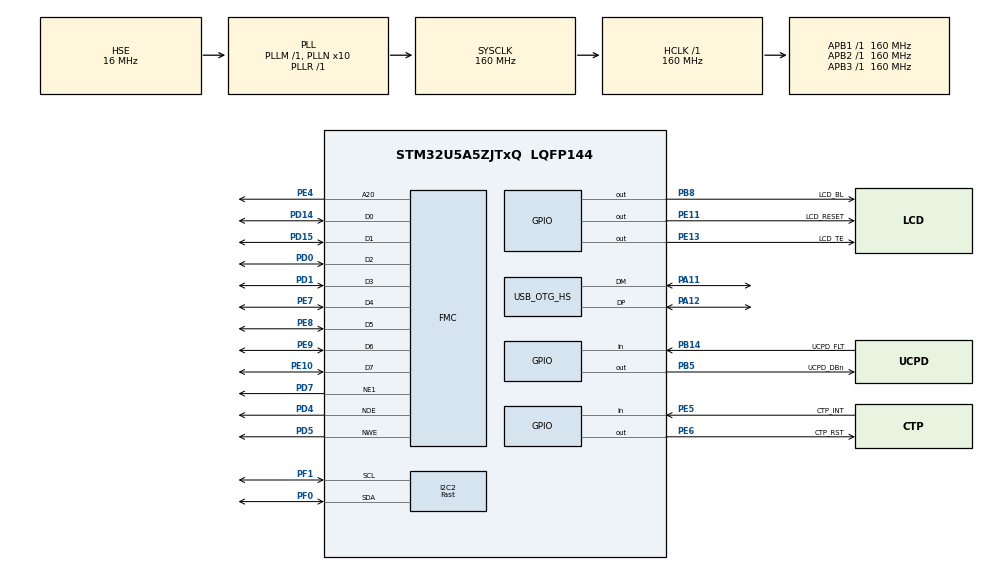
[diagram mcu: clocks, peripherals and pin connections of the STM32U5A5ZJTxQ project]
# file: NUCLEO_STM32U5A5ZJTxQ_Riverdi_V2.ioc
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CORTEX_M33_NS.userName=CORTEX_M33
I2C2.I2C_Speed_Mode=I2C_Fast
I2C2.Timing=0x00F07BFF
Mcu.Family=STM32U5
Mcu.Name=STM32U5A5ZJTxQ
Mcu.Package=LQFP144
NUCLEO-U5A5ZJ-Q.BUTTON=1
NUCLEO-U5A5ZJ-Q.LD1=true
NUCLEO-U5A5ZJ-Q.LD2=true
NUCLEO-U5A5ZJ-Q.LD3=true
NUCLEO-U5A5ZJ-Q.VCP=true
NVIC.EXTI13_IRQn=true\:0\:0\:false\:false\:true\:false\:false\:true\:true
NVIC.PriorityGroup=NVIC_PRIORITYGROUP_4
NVIC.TIM6_IRQn=true\:15\:0\:false\:false\:true\:false\:false\:true\:true
NVIC.TimeBase=TIM6_IRQn
NVIC.TimeBaseIP=TIM6
PA10.Signal=USART1_RX
PA11.Mode=Internal_Phy_Device
PA11.Signal=USB_OTG_HS_DM
PA12.Mode=Internal_Phy_Device
PA12.Signal=USB_OTG_HS_DP
PA13\ (JTMS/SWDIO).Mode=Trace_Asynchronous_SW
PA13\ (JTMS/SWDIO).Signal=DEBUG_JTMS-SWDIO
PA14\ (JTCK/SWCLK).Mode=Trace_Asynchronous_SW
PA14\ (JTCK/SWCLK).Signal=DEBUG_JTCK-SWCLK
PA15\ (JTDI).Signal=UCPD1_CC1
PA9.Signal=USART1_TX
PB14.GPIO_Label=UCPD_FLT
PB14.Signal=GPIO_Input
PB15.Signal=UCPD1_CC2
PB3\ (JTDO/TRACESWO).Mode=Trace_Asynchronous_SW
PB3\ (JTDO/TRACESWO).Signal=DEBUG_JTDO-SWO
PB5.GPIO_Label=UCPD_DBn
PB5.Signal=GPIO_Output
PB8.GPIO_Label=LCD_BL
PB8.Signal=GPIO_Output
PC14-OSC32_IN\ (PC14).Mode=LSE-External-Oscillator
PC14-OSC32_IN\ (PC14).Signal=RCC_OSC32_IN
PC15-OSC32_OUT\ (PC15).Mode=LSE-External-Oscillator
PC15-OSC32_OUT\ (PC15).Signal=RCC_OSC32_OUT
PC2.GPIO_Label=VBUS_SENSE
PC2.Signal=ADC1_IN3
PD0.Signal=FMC_D2_DA2
PD1.Signal=FMC_D3_DA3
PD14.Signal=FMC_D0_DA0
PD15.Signal=FMC_D1_DA1
PD4.Signal=FMC_NOE
PD5.Signal=FMC_NWE
PD7.Mode=NorPsramChipSelect1_1
PD7.Signal=FMC_NE1
PE10.Signal=FMC_D7_DA7
PE11.GPIO_Label=LCD_RESET
PE11.Signal=GPIO_Output
PE13.GPIO_Label=LCD_TE
PE13.Signal=GPIO_Output
PE4.Signal=FMC_A20
PE5.GPIO_Label=CTP_INT
PE5.Signal=GPIO_Input
PE6.GPIO_Label=CTP_RST
PE6.Signal=GPIO_Output
PE7.Signal=FMC_D4_DA4
PE8.Signal=FMC_D5_DA5
PE9.Signal=FMC_D6_DA6
PF0.Mode=I2C
PF0.Signal=I2C2_SDA
PF1.Mode=I2C
PF1.Signal=I2C2_SCL
PH0-OSC_IN\ (PH0).Mode=HSE-External-Oscillator
PH0-OSC_IN\ (PH0).Signal=RCC_OSC_IN
PH1-OSC_OUT\ (PH1).Mode=HSE-External-Oscillator
PH1-OSC_OUT\ (PH1).Signal=RCC_OSC_OUT
PWR.PowerMode=PWR_SMPS_SUPPLY
ProjectManager.HeapSize=0x200
ProjectManager.StackSize=0x400
ProjectManager.TargetToolchain=STM32CubeIDE
RCC.ADCFreq_Value=16000000
RCC.AHBFreq_Value=160000000
RCC.APB1Freq_Value=160000000
RCC.APB1TimFreq_Value=160000000
RCC.APB2Freq_Value=160000000
RCC.APB2TimFreq_Value=160000000
RCC.APB3Freq_Value=160000000
RCC.CortexFreq_Value=160000000
RCC.DACCLockSelectionVirtual=RCC_DAC1CLKSOURCE_LSI
RCC.EPOD_VALUE=16000000
RCC.HCLKFreq_Value=160000000
RCC.HSE_VALUE=16000000
RCC.HSI48_VALUE=48000000
RCC.HSI_VALUE=16000000
RCC.LSIDIV_VALUE=32000
RCC.MSIClockRange=RCC_MSIRANGE_0
RCC.MSI_VALUE=48000000
RCC.PLL1P=8
RCC.PLL1R=1
RCC.PLLFRACN=0
RCC.PLLN=10
RCC.PLLSourceVirtual=RCC_PLLSOURCE_HSE
RCC.SYSCLKFreq_VALUE=160000000
RCC.SYSCLKSource=RCC_SYSCLKSOURCE_PLLCLK
RCC.VCOOutputFreq_Value=160000000
SH.FMC_A20.0=FMC_A20,A20_1
SH.FMC_D0_DA0.0=FMC_D0,8b-d1
SH.FMC_D1_DA1.0=FMC_D1,8b-d1
SH.FMC_D2_DA2.0=FMC_D2,8b-d1
SH.FMC_D3_DA3.0=FMC_D3,8b-d1
SH.FMC_D4_DA4.0=FMC_D4,8b-d1
SH.FMC_D5_DA5.0=FMC_D5,8b-d1
SH.FMC_D6_DA6.0=FMC_D6,8b-d1
SH.FMC_D7_DA7.0=FMC_D7,8b-d1
SH.FMC_NOE.0=FMC_NOE,Lcd1
SH.FMC_NWE.0=FMC_NWE,Lcd1
STMicroelectronics.X-CUBE-TOUCHGFX.4.26.1.ApplicationCcGraphicsJjApplication=TouchGFXOoGenerator
STMicroelectronics.X-CUBE-TOUCHGFX.4.26.1.tgfx_custom_height=480
STMicroelectronics.X-CUBE-TOUCHGFX.4.26.1.tgfx_custom_width=320
STMicroelectronics.X-CUBE-TOUCHGFX.4.26.1.tgfx_hardware_accelerator=dma_2d
STMicroelectronics.X-CUBE-TOUCHGFX.4.26.1_IsPackSelfContextualization=true
THREADX.TX_APP_MEM_POOL_SIZE=8192
THREADX.TX_TIMER_TICKS_PER_SECOND=1000
USB_OTG_HS.VirtualMode=Device_HS
VP_CRC_VS_CRC.Mode=CRC_Activate
VP_DMA2D_VS_DMA2D.Mode=DMA2D_Activate
VP_ICACHE_VS_ICACHE.Mode=DirectMappedCache
VP_LPBAMQUEUE_VS_QUEUE.Mode=QUEUEMODE
VP_MEMORYMAP_VS_MEMORYMAP.Mode=CurAppReg
VP_NUCLEO-U5A5ZJ-Q_VS_BSP_COMMON.Mode=COMMON
VP_PWR_VS_DBSignals.Mode=DisableDeadBatterySignals
VP_PWR_VS_LPOM.Mode=PowerOptimisation
VP_PWR_VS_SECSignals.Mode=Security/Privilege
VP_STMicroelectronics.X-CUBE-TOUCHGFX_VS_GraphicsJjApplication_4.26.1.Mode=GraphicsJjApplication
VP_SYS_VS_tim6.Mode=TIM6
VP_THREADX_VS_RTOSJjThreadXJjCoreJjDefault.Mode=Core_Default
board=NUCLEO-U5A5ZJ-Q

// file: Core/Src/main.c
/* USER CODE BEGIN Header */
/**
  ******************************************************************************
  * @file           : main.c
  * @brief          : Main program body
  ******************************************************************************
  * @attention
  *
  * Copyright (c) 2026 STMicroelectronics.
  * All rights reserved.
  *
  * This software is licensed under terms that can be found in the LICENSE file
  * in the root directory of this software component.
  * If no LICENSE file comes with this software, it is provided AS-IS.
  *
  ******************************************************************************
  */
/* USER CODE END Header */
#include "app_threadx.h"
#include "main.h"
#include "app_touchgfx.h"

/* USER CODE BEGIN Includes */
#include "ili9488.h"
#include "stm32u5xx_nucleo.h"
#include <stdio.h>
#include <string.h>
extern void touchgfx_signal_vsync(void);
extern UART_HandleTypeDef hcom_uart[COMn];
/* USER CODE END Includes */

COM_InitTypeDef BspCOMInit;

CRC_HandleTypeDef hcrc;

DMA2D_HandleTypeDef hdma2d;

I2C_HandleTypeDef hi2c2;

PCD_HandleTypeDef hpcd_USB_OTG_HS;

SRAM_HandleTypeDef hsram1;

/* USER CODE BEGIN PV */
/* S16.5 — three-state display power machine, cycled by B1 presses.
 *   DISP_ACTIVE  : backlight on, DMA2D clock on, panel awake.
 *   DISP_DIMMED  : backlight still on, DMA2D clock gated (rendering frozen).
 *   DISP_OFF     : backlight off, ILI9488 SLPIN, DMA2D clock gated. */
typedef enum {
    DISP_ACTIVE = 0,
    DISP_DIMMED = 1,
    DISP_OFF    = 2,
} disp_state_t;
static volatile disp_state_t s165_state = DISP_ACTIVE;
/* USER CODE END PV */

void SystemClock_Config(void);
static void SystemPower_Config(void);
static void MX_GPIO_Init(void);
static void MX_DMA2D_Init(void);
static void MX_FMC_Init(void);
static void MX_I2C2_Init(void);
static void MX_ICACHE_Init(void);
static void MX_USB_OTG_HS_PCD_Init(void);
static void MX_CRC_Init(void);

/* USER CODE BEGIN 0 */

/* Note: __io_putchar is provided by stm32u5xx_nucleo.c (BSP_COM layer)
 * — printf is already routed to the VCP via that, no override needed. */

/* S16.5 — apply a display power state. Safe to call from B1 ISR context:
 *   - HAL_GPIO_WritePin (backlight) is non-blocking and atomic
 *   - __HAL_RCC_DMA2D_CLK_ENABLE/DISABLE are register writes
 *   - ili9488_sleep() writes one FMC byte; the 5 ms / 120 ms delays it
 *     uses internally are HAL_Delay() which spin on SysTick — acceptable
 *     for a bench-driven state change but would be moved out of the ISR
 *     for a production state machine. */
static void s165_apply_state(disp_state_t target)
{
    switch (target) {
    case DISP_ACTIVE:
        __HAL_RCC_DMA2D_CLK_ENABLE();
        ili9488_sleep(0);          /* SLPOUT */
        ili9488_backlight(1);
        printf("S16.5: -> DISP_ACTIVE\n");
        break;
    case DISP_DIMMED:
        ili9488_backlight(1);      /* leave backlight on */
        __HAL_RCC_DMA2D_CLK_DISABLE();
        printf("S16.5: -> DISP_DIMMED (UI paused)\n");
        break;
    case DISP_OFF:
        ili9488_backlight(0);
        ili9488_sleep(1);          /* SLPIN */
        __HAL_RCC_DMA2D_CLK_DISABLE();
        printf("S16.5: -> DISP_OFF\n");
        break;
    }
    s165_state = target;
}

/* BSP_PB_Callback is __weak in stm32u5xx_nucleo.c; this override cycles
 * the display state on every B1 (USER button) press. */
void BSP_PB_Callback(Button_TypeDef Button)
{
    if (Button != BUTTON_USER) return;
    disp_state_t next = (s165_state == DISP_ACTIVE) ? DISP_DIMMED
                      : (s165_state == DISP_DIMMED) ? DISP_OFF
                      : DISP_ACTIVE;
    s165_apply_state(next);
}

/* DMA2D benchmark scratch buffer (200 x 200 pixels x RGB565 = 80 KB). */
#define BENCH_W   200
#define BENCH_H   200
#define BENCH_STRIDE 200
static uint16_t bench_fb[BENCH_W * BENCH_H];

extern DMA2D_HandleTypeDef hdma2d;

static void bench_fill_dma2d(uint32_t color_argb)
{
    hdma2d.Init.Mode         = DMA2D_R2M;
    hdma2d.Init.ColorMode    = DMA2D_OUTPUT_RGB565;
    hdma2d.Init.OutputOffset = 0;   /* whole-buffer fill */
    HAL_DMA2D_Init(&hdma2d);
    HAL_DMA2D_Start(&hdma2d, color_argb,
                    (uint32_t)bench_fb, BENCH_W, BENCH_H);
    HAL_DMA2D_PollForTransfer(&hdma2d, HAL_MAX_DELAY);
}

static void bench_fill_cpu(uint16_t color_565)
{
    uint16_t *p = bench_fb;
    for (uint32_t i = 0; i < (uint32_t)BENCH_W * BENCH_H; ++i) {
        *p++ = color_565;
    }
}

static void run_dma2d_benchmark(void)
{
    /* Enable DWT cycle counter for fine-grained timing. */
    CoreDebug->DEMCR |= CoreDebug_DEMCR_TRCENA_Msk;
    DWT->CYCCNT       = 0;
    DWT->CTRL        |= DWT_CTRL_CYCCNTENA_Msk;

    const int ITERATIONS = 60;
    uint32_t t0, cyc_dma2d, cyc_cpu;

    /* Warm-up so first DMA2D call's HAL_DMA2D_Init overhead doesn't
     * skew the measurement. */
    bench_fill_dma2d(0xFFFF0000u);

    t0 = DWT->CYCCNT;
    for (int i = 0; i < ITERATIONS; ++i) {
        bench_fill_dma2d(0xFFFF0000u);
    }
    cyc_dma2d = DWT->CYCCNT - t0;

    t0 = DWT->CYCCNT;
    for (int i = 0; i < ITERATIONS; ++i) {
        bench_fill_cpu(0xF800);
    }
    cyc_cpu = DWT->CYCCNT - t0;

    const uint32_t per_dma2d = cyc_dma2d / ITERATIONS;
    const uint32_t per_cpu   = cyc_cpu   / ITERATIONS;
    const uint32_t ratio_x10 = (cyc_cpu * 10u) / cyc_dma2d;

    printf("\r\n---- S16.4 DMA2D vs CPU benchmark ----\r\n");
    printf("Fill %dx%d RGB565, x%d iterations\r\n",
           BENCH_W, BENCH_H, ITERATIONS);
    printf("DMA2D: %lu cyc total, %lu cyc/fill\r\n",
           (unsigned long)cyc_dma2d, (unsigned long)per_dma2d);
    printf("CPU  : %lu cyc total, %lu cyc/fill\r\n",
           (unsigned long)cyc_cpu, (unsigned long)per_cpu);
    printf("Speedup: %lu.%lux\r\n",
           (unsigned long)(ratio_x10 / 10u),
           (unsigned long)(ratio_x10 % 10u));
    printf("--------------------------------------\r\n\r\n");
}
/* USER CODE END 0 */

int main(void)
{

  /* MCU Configuration--------------------------------------------------------*/

  /* Reset of all peripherals, Initializes the Flash interface and the Systick. */
  HAL_Init();

  /* Configure the System Power */
  SystemPower_Config();

  /* Configure the system clock */
  SystemClock_Config();

  /* Initialize all configured peripherals */
  MX_GPIO_Init();
  MX_DMA2D_Init();
  MX_FMC_Init();
  MX_I2C2_Init();
  MX_ICACHE_Init();
  /* USB OTG-HS init can hang in USB_CoreReset without the right USB clock;
   * skip until that's set up properly. */
  /* MX_USB_OTG_HS_PCD_Init(); */
  MX_CRC_Init();
  /* Call PreOsInit function -- triggers TouchGFXHAL::initialize() which
   * turns on the backlight and runs ili9488_init() before the scheduler
   * starts, so the first rendered frame lands on a configured panel. */
  MX_TouchGFX_PreOSInit();

  /* Initialize leds */
  BSP_LED_Init(LED_GREEN);
  BSP_LED_Init(LED_BLUE);
  BSP_LED_Init(LED_RED);

  /* Initialize USER push-button, will be used to trigger an interrupt each time it's pressed.*/
  BSP_PB_Init(BUTTON_USER, BUTTON_MODE_EXTI);

  /* Initialize COM1 port (115200, 8 bits (7-bit data + 1 stop bit), no parity */
  BspCOMInit.BaudRate   = 115200;
  BspCOMInit.WordLength = COM_WORDLENGTH_8B;
  BspCOMInit.StopBits   = COM_STOPBITS_1;
  BspCOMInit.Parity     = COM_PARITY_NONE;
  BspCOMInit.HwFlowCtl  = COM_HWCONTROL_NONE;
  if (BSP_COM_Init(COM1, &BspCOMInit) != BSP_ERROR_NONE)
  {
    Error_Handler();
  }

  /* S16.4: run DMA2D vs CPU fill-rate benchmark once before the
   * scheduler takes over.  Doing it here (rather than from a thread)
   * means hdma2d is owned exclusively by this code -- no contention
   * with TouchGFX's rendering. */
  run_dma2d_benchmark();

  /* Hand control to the ThreadX scheduler.  tx_kernel_enter() never
   * returns; threads (including the TouchGFX render task and a VSYNC
   * tick thread) are created in App_ThreadX_Init in app_threadx.c. */
  MX_ThreadX_Init();

  while (1) { }
}

void SystemClock_Config(void)
{
  RCC_OscInitTypeDef RCC_OscInitStruct = {0};
  RCC_ClkInitTypeDef RCC_ClkInitStruct = {0};

  /** Configure the main internal regulator output voltage
  */
  if (HAL_PWREx_ControlVoltageScaling(PWR_REGULATOR_VOLTAGE_SCALE1) != HAL_OK)
  {
    Error_Handler();
  }

  /** Initializes the CPU, AHB and APB buses clocks
  */
  RCC_OscInitStruct.OscillatorType = RCC_OSCILLATORTYPE_HSE;
  RCC_OscInitStruct.HSEState = RCC_HSE_ON;
  RCC_OscInitStruct.PLL.PLLState = RCC_PLL_ON;
  RCC_OscInitStruct.PLL.PLLSource = RCC_PLLSOURCE_HSE;
  RCC_OscInitStruct.PLL.PLLMBOOST = RCC_PLLMBOOST_DIV1;
  RCC_OscInitStruct.PLL.PLLM = 1;
  RCC_OscInitStruct.PLL.PLLN = 10;
  RCC_OscInitStruct.PLL.PLLP = 8;
  RCC_OscInitStruct.PLL.PLLQ = 2;
  RCC_OscInitStruct.PLL.PLLR = 1;
  RCC_OscInitStruct.PLL.PLLRGE = RCC_PLLVCIRANGE_1;
  RCC_OscInitStruct.PLL.PLLFRACN = 0;
  if (HAL_RCC_OscConfig(&RCC_OscInitStruct) != HAL_OK)
  {
    Error_Handler();
  }

  /** Initializes the CPU, AHB and APB buses clocks
  */
  RCC_ClkInitStruct.ClockType = RCC_CLOCKTYPE_HCLK|RCC_CLOCKTYPE_SYSCLK
                              |RCC_CLOCKTYPE_PCLK1|RCC_CLOCKTYPE_PCLK2
                              |RCC_CLOCKTYPE_PCLK3;
  RCC_ClkInitStruct.SYSCLKSource = RCC_SYSCLKSOURCE_PLLCLK;
  RCC_ClkInitStruct.AHBCLKDivider = RCC_SYSCLK_DIV1;
  RCC_ClkInitStruct.APB1CLKDivider = RCC_HCLK_DIV1;
  RCC_ClkInitStruct.APB2CLKDivider = RCC_HCLK_DIV1;
  RCC_ClkInitStruct.APB3CLKDivider = RCC_HCLK_DIV1;

  if (HAL_RCC_ClockConfig(&RCC_ClkInitStruct, FLASH_LATENCY_4) != HAL_OK)
  {
    Error_Handler();
  }
}

/**
  * @brief Power Configuration
  * @retval None
  */
static void SystemPower_Config(void)
{

  /*
   * Disable the internal Pull-Up in Dead Battery pins of UCPD peripheral
   */
  HAL_PWREx_DisableUCPDDeadBattery();

  /*
   * Switch to SMPS regulator instead of LDO
   */
  if (HAL_PWREx_ConfigSupply(PWR_SMPS_SUPPLY) != HAL_OK)
  {
    Error_Handler();
  }
}

static void MX_CRC_Init(void)
{

  hcrc.Instance = CRC;
  hcrc.Init.DefaultPolynomialUse = DEFAULT_POLYNOMIAL_ENABLE;
  hcrc.Init.DefaultInitValueUse = DEFAULT_INIT_VALUE_ENABLE;
  hcrc.Init.InputDataInversionMode = CRC_INPUTDATA_INVERSION_NONE;
  hcrc.Init.OutputDataInversionMode = CRC_OUTPUTDATA_INVERSION_DISABLE;
  hcrc.InputDataFormat = CRC_INPUTDATA_FORMAT_BYTES;
  if (HAL_CRC_Init(&hcrc) != HAL_OK)
  {
    Error_Handler();
  }

}

static void MX_DMA2D_Init(void)
{

  hdma2d.Instance = DMA2D;
  hdma2d.Init.Mode = DMA2D_M2M;
  hdma2d.Init.ColorMode = DMA2D_OUTPUT_ARGB8888;
  hdma2d.Init.OutputOffset = 0;
  hdma2d.Init.BytesSwap = DMA2D_BYTES_REGULAR;
  hdma2d.Init.LineOffsetMode = DMA2D_LOM_PIXELS;
  hdma2d.LayerCfg[1].InputOffset = 0;
  hdma2d.LayerCfg[1].InputColorMode = DMA2D_INPUT_ARGB8888;
  hdma2d.LayerCfg[1].AlphaMode = DMA2D_NO_MODIF_ALPHA;
  hdma2d.LayerCfg[1].InputAlpha = 0;
  hdma2d.LayerCfg[1].AlphaInverted = DMA2D_REGULAR_ALPHA;
  hdma2d.LayerCfg[1].RedBlueSwap = DMA2D_RB_REGULAR;
  if (HAL_DMA2D_Init(&hdma2d) != HAL_OK)
  {
    Error_Handler();
  }
  if (HAL_DMA2D_ConfigLayer(&hdma2d, 1) != HAL_OK)
  {
    Error_Handler();
  }

}

static void MX_I2C2_Init(void)
{

  hi2c2.Instance = I2C2;
  hi2c2.Init.Timing = 0x00F07BFF;
  hi2c2.Init.OwnAddress1 = 0;
  hi2c2.Init.AddressingMode = I2C_ADDRESSINGMODE_7BIT;
  hi2c2.Init.DualAddressMode = I2C_DUALADDRESS_DISABLE;
  hi2c2.Init.OwnAddress2 = 0;
  hi2c2.Init.OwnAddress2Masks = I2C_OA2_NOMASK;
  hi2c2.Init.GeneralCallMode = I2C_GENERALCALL_DISABLE;
  hi2c2.Init.NoStretchMode = I2C_NOSTRETCH_DISABLE;
  if (HAL_I2C_Init(&hi2c2) != HAL_OK)
  {
    Error_Handler();
  }

  /** Configure Analogue filter
  */
  if (HAL_I2CEx_ConfigAnalogFilter(&hi2c2, I2C_ANALOGFILTER_ENABLE) != HAL_OK)
  {
    Error_Handler();
  }

  /** Configure Digital filter
  */
  if (HAL_I2CEx_ConfigDigitalFilter(&hi2c2, 0) != HAL_OK)
  {
    Error_Handler();
  }

}

static void MX_ICACHE_Init(void)
{

  /** Enable instruction cache in 1-way (direct mapped cache)
  */
  if (HAL_ICACHE_ConfigAssociativityMode(ICACHE_1WAY) != HAL_OK)
  {
    Error_Handler();
  }
  if (HAL_ICACHE_Enable() != HAL_OK)
  {
    Error_Handler();
  }

}

static void MX_USB_OTG_HS_PCD_Init(void)
{

  hpcd_USB_OTG_HS.Instance = USB_OTG_HS;
  hpcd_USB_OTG_HS.Init.dev_endpoints = 9;
  hpcd_USB_OTG_HS.Init.speed = PCD_SPEED_HIGH;
  hpcd_USB_OTG_HS.Init.phy_itface = USB_OTG_HS_EMBEDDED_PHY;
  hpcd_USB_OTG_HS.Init.Sof_enable = DISABLE;
  hpcd_USB_OTG_HS.Init.low_power_enable = DISABLE;
  hpcd_USB_OTG_HS.Init.lpm_enable = DISABLE;
  hpcd_USB_OTG_HS.Init.use_dedicated_ep1 = DISABLE;
  hpcd_USB_OTG_HS.Init.vbus_sensing_enable = DISABLE;
  hpcd_USB_OTG_HS.Init.dma_enable = DISABLE;
  if (HAL_PCD_Init(&hpcd_USB_OTG_HS) != HAL_OK)
  {
    Error_Handler();
  }

}

/* FMC initialization function */
static void MX_FMC_Init(void)
{

  FMC_NORSRAM_TimingTypeDef Timing = {0};

  /** Perform the SRAM1 memory initialization sequence
  */
  hsram1.Instance = FMC_NORSRAM_DEVICE;
  hsram1.Extended = FMC_NORSRAM_EXTENDED_DEVICE;
  /* hsram1.Init */
  hsram1.Init.NSBank = FMC_NORSRAM_BANK1;
  hsram1.Init.DataAddressMux = FMC_DATA_ADDRESS_MUX_DISABLE;
  hsram1.Init.MemoryType = FMC_MEMORY_TYPE_SRAM;
  hsram1.Init.MemoryDataWidth = FMC_NORSRAM_MEM_BUS_WIDTH_8;
  hsram1.Init.BurstAccessMode = FMC_BURST_ACCESS_MODE_DISABLE;
  hsram1.Init.WaitSignalPolarity = FMC_WAIT_SIGNAL_POLARITY_LOW;
  hsram1.Init.WaitSignalActive = FMC_WAIT_TIMING_BEFORE_WS;
  hsram1.Init.WriteOperation = FMC_WRITE_OPERATION_ENABLE;
  hsram1.Init.WaitSignal = FMC_WAIT_SIGNAL_DISABLE;
  hsram1.Init.ExtendedMode = FMC_EXTENDED_MODE_DISABLE;
  hsram1.Init.AsynchronousWait = FMC_ASYNCHRONOUS_WAIT_DISABLE;
  hsram1.Init.WriteBurst = FMC_WRITE_BURST_DISABLE;
  hsram1.Init.ContinuousClock = FMC_CONTINUOUS_CLOCK_SYNC_ONLY;
  hsram1.Init.WriteFifo = FMC_WRITE_FIFO_ENABLE;
  hsram1.Init.NBLSetupTime = 0;
  hsram1.Init.PageSize = FMC_PAGE_SIZE_NONE;
  hsram1.Init.MaxChipSelectPulse = DISABLE;
  /* Timing */
  /* Tightened FMC timing for the ILI9488 (datasheet min write cycle ~50 ns,
   * ~8 cycles at 160 MHz HCLK).  Default 255 cycles = visibly slow refresh. */
  Timing.AddressSetupTime = 4;
  Timing.AddressHoldTime = 1;
  Timing.DataSetupTime = 8;
  Timing.DataHoldTime = 1;
  Timing.BusTurnAroundDuration = 4;
  Timing.CLKDivision = 16;
  Timing.DataLatency = 17;
  Timing.AccessMode = FMC_ACCESS_MODE_A;
  /* ExtTiming */

  if (HAL_SRAM_Init(&hsram1, &Timing, NULL) != HAL_OK)
  {
    Error_Handler( );
  }

}

static void MX_GPIO_Init(void)
{
  GPIO_InitTypeDef GPIO_InitStruct = {0};

  /* GPIO Ports Clock Enable */
  __HAL_RCC_GPIOE_CLK_ENABLE();
  __HAL_RCC_GPIOC_CLK_ENABLE();
  __HAL_RCC_GPIOF_CLK_ENABLE();
  __HAL_RCC_GPIOH_CLK_ENABLE();
  __HAL_RCC_GPIOB_CLK_ENABLE();
  __HAL_RCC_GPIOD_CLK_ENABLE();
  __HAL_RCC_GPIOA_CLK_ENABLE();

  /*Configure GPIO pin Output Level */
  HAL_GPIO_WritePin(GPIOE, CTP_RST_Pin|LCD_RESET_Pin|LCD_TE_Pin, GPIO_PIN_RESET);

  /*Configure GPIO pin Output Level */
  HAL_GPIO_WritePin(GPIOB, UCPD_DBn_Pin|LCD_BL_Pin, GPIO_PIN_RESET);

  /*Configure GPIO pin : CTP_INT_Pin */
  GPIO_InitStruct.Pin = CTP_INT_Pin;
  GPIO_InitStruct.Mode = GPIO_MODE_INPUT;
  GPIO_InitStruct.Pull = GPIO_NOPULL;
  HAL_GPIO_Init(CTP_INT_GPIO_Port, &GPIO_InitStruct);

  /*Configure GPIO pins : CTP_RST_Pin LCD_RESET_Pin LCD_TE_Pin */
  GPIO_InitStruct.Pin = CTP_RST_Pin|LCD_RESET_Pin|LCD_TE_Pin;
  GPIO_InitStruct.Mode = GPIO_MODE_OUTPUT_PP;
  GPIO_InitStruct.Pull = GPIO_NOPULL;
  GPIO_InitStruct.Speed = GPIO_SPEED_FREQ_LOW;
  HAL_GPIO_Init(GPIOE, &GPIO_InitStruct);

  /*Configure GPIO pin : VBUS_SENSE_Pin */
  GPIO_InitStruct.Pin = VBUS_SENSE_Pin;
  GPIO_InitStruct.Mode = GPIO_MODE_ANALOG;
  GPIO_InitStruct.Pull = GPIO_NOPULL;
  HAL_GPIO_Init(VBUS_SENSE_GPIO_Port, &GPIO_InitStruct);

  /*Configure GPIO pin : UCPD_FLT_Pin */
  GPIO_InitStruct.Pin = UCPD_FLT_Pin;
  GPIO_InitStruct.Mode = GPIO_MODE_INPUT;
  GPIO_InitStruct.Pull = GPIO_NOPULL;
  HAL_GPIO_Init(UCPD_FLT_GPIO_Port, &GPIO_InitStruct);

  /*Configure GPIO pin : PB15 */
  GPIO_InitStruct.Pin = GPIO_PIN_15;
  GPIO_InitStruct.Mode = GPIO_MODE_ANALOG;
  GPIO_InitStruct.Pull = GPIO_NOPULL;
  HAL_GPIO_Init(GPIOB, &GPIO_InitStruct);

  /*Configure GPIO pin : PA15 */
  GPIO_InitStruct.Pin = GPIO_PIN_15;
  GPIO_InitStruct.Mode = GPIO_MODE_ANALOG;
  GPIO_InitStruct.Pull = GPIO_NOPULL;
  HAL_GPIO_Init(GPIOA, &GPIO_InitStruct);

  /*Configure GPIO pins : UCPD_DBn_Pin LCD_BL_Pin */
  GPIO_InitStruct.Pin = UCPD_DBn_Pin|LCD_BL_Pin;
  GPIO_InitStruct.Mode = GPIO_MODE_OUTPUT_PP;
  GPIO_InitStruct.Pull = GPIO_NOPULL;
  GPIO_InitStruct.Speed = GPIO_SPEED_FREQ_LOW;
  HAL_GPIO_Init(GPIOB, &GPIO_InitStruct);

}

void HAL_TIM_PeriodElapsedCallback(TIM_HandleTypeDef *htim)
{
  if (htim->Instance == TIM6)
  {
    HAL_IncTick();
  }
}

void Error_Handler(void)
{
  __disable_irq();
  while (1)
  {
  }
}
